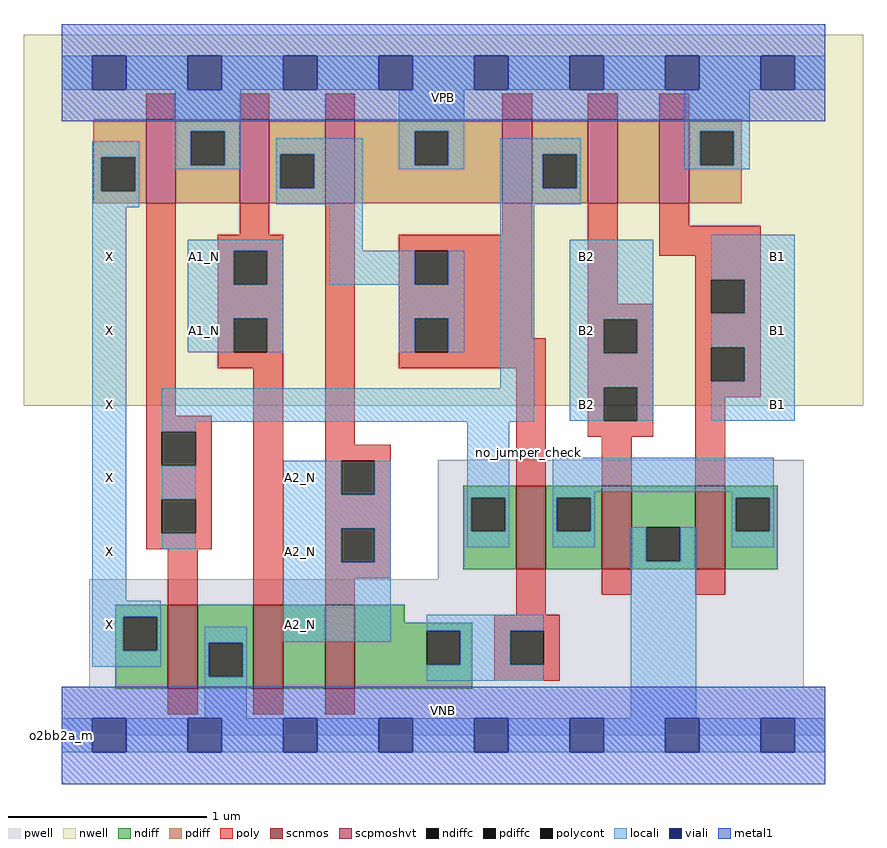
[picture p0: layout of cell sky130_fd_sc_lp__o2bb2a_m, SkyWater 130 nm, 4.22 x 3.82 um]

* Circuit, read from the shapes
.subckt sky130_fd_sc_lp__o2bb2a_m A1_N A2_N B1 B2 VGND VNB VPB VPWR X
XM1 VGND n1 X VNB sky130_fd_pr__nfet_01v8 w=0.42 l=0.15
XM2 n2 A1_N VGND VNB sky130_fd_pr__nfet_01v8 w=0.42 l=0.15
XM3 n3 A2_N n2 VNB sky130_fd_pr__nfet_01v8 w=0.42 l=0.15
XM4 n4 n3 n1 VNB sky130_fd_pr__nfet_01v8 w=0.42 l=0.15
XM5 VGND B2 n4 VNB sky130_fd_pr__nfet_01v8 w=0.42 l=0.15
XM6 n4 B1 VGND VNB sky130_fd_pr__nfet_01v8 w=0.42 l=0.15
XM7 VPWR n1 X VPB sky130_fd_pr__pfet_01v8_hvt w=0.42 l=0.15
XM8 n3 A1_N VPWR VPB sky130_fd_pr__pfet_01v8_hvt w=0.42 l=0.15
XM9 VPWR A2_N n3 VPB sky130_fd_pr__pfet_01v8_hvt w=0.42 l=0.15
XM10 n1 n3 VPWR VPB sky130_fd_pr__pfet_01v8_hvt w=0.42 l=0.15
XM11 n5 B2 n1 VPB sky130_fd_pr__pfet_01v8_hvt w=0.42 l=0.15
XM12 VPWR B1 n5 VPB sky130_fd_pr__pfet_01v8_hvt w=0.42 l=0.15
.ends

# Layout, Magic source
magic
tech sky130A
magscale 1 2
<< nwell >>
rect -38 331 806 704
<< pwell >>
rect 378 157 746 277
rect 28 49 746 157
rect 0 0 768 49
<< scnmos >>
rect 457 167 487 251
rect 543 167 573 251
rect 637 167 667 251
rect 107 47 137 131
rect 193 47 223 131
rect 265 47 295 131
<< scpmoshvt >>
rect 85 535 115 619
rect 179 535 209 619
rect 265 535 295 619
rect 443 535 473 619
rect 529 535 559 619
rect 601 535 631 619
<< ndiff >>
rect 404 239 457 251
rect 404 205 412 239
rect 446 205 457 239
rect 404 167 457 205
rect 487 239 543 251
rect 487 205 498 239
rect 532 205 543 239
rect 487 167 543 205
rect 573 209 637 251
rect 573 175 588 209
rect 622 175 637 209
rect 573 167 637 175
rect 667 239 720 251
rect 667 205 678 239
rect 712 205 720 239
rect 667 167 720 205
rect 54 119 107 131
rect 54 85 62 119
rect 96 85 107 119
rect 54 47 107 85
rect 137 93 193 131
rect 137 59 148 93
rect 182 59 193 93
rect 137 47 193 59
rect 223 47 265 131
rect 295 113 345 131
rect 295 105 413 113
rect 295 71 367 105
rect 401 71 413 105
rect 295 47 413 71
<< pdiff >>
rect 32 581 85 619
rect 32 547 40 581
rect 74 547 85 581
rect 32 535 85 547
rect 115 607 179 619
rect 115 573 130 607
rect 164 573 179 607
rect 115 535 179 573
rect 209 584 265 619
rect 209 550 220 584
rect 254 550 265 584
rect 209 535 265 550
rect 295 607 443 619
rect 295 573 355 607
rect 389 573 443 607
rect 295 535 443 573
rect 473 584 529 619
rect 473 550 484 584
rect 518 550 529 584
rect 473 535 529 550
rect 559 535 601 619
rect 631 607 684 619
rect 631 573 642 607
rect 676 573 684 607
rect 631 535 684 573
<< ndiffc >>
rect 412 205 446 239
rect 498 205 532 239
rect 588 175 622 209
rect 678 205 712 239
rect 62 85 96 119
rect 148 59 182 93
rect 367 71 401 105
<< pdiffc >>
rect 40 547 74 581
rect 130 573 164 607
rect 220 550 254 584
rect 355 573 389 607
rect 484 550 518 584
rect 642 573 676 607
<< poly >>
rect 85 619 115 645
rect 179 619 209 645
rect 265 619 295 645
rect 443 619 473 645
rect 529 619 559 645
rect 601 619 631 645
rect 85 321 115 535
rect 179 503 209 535
rect 157 487 223 503
rect 157 453 173 487
rect 207 453 223 487
rect 157 419 223 453
rect 157 385 173 419
rect 207 385 223 419
rect 157 369 223 385
rect 85 305 151 321
rect 85 271 101 305
rect 135 271 151 305
rect 85 237 151 271
rect 85 203 101 237
rect 135 203 151 237
rect 85 187 151 203
rect 107 131 137 187
rect 193 131 223 369
rect 265 292 295 535
rect 443 503 473 535
rect 339 487 473 503
rect 339 453 355 487
rect 389 453 473 487
rect 339 419 473 453
rect 339 385 355 419
rect 389 399 473 419
rect 529 434 559 535
rect 601 512 631 535
rect 601 482 703 512
rect 637 458 703 482
rect 529 418 595 434
rect 389 385 487 399
rect 339 369 487 385
rect 265 276 331 292
rect 265 242 281 276
rect 315 242 331 276
rect 457 251 487 369
rect 529 384 545 418
rect 579 384 595 418
rect 529 350 595 384
rect 529 316 545 350
rect 579 316 595 350
rect 529 300 595 316
rect 637 424 653 458
rect 687 424 703 458
rect 637 390 703 424
rect 637 356 653 390
rect 687 356 703 390
rect 637 340 703 356
rect 543 251 573 300
rect 637 251 667 340
rect 265 208 331 242
rect 265 174 281 208
rect 315 174 331 208
rect 265 158 331 174
rect 265 131 295 158
rect 457 121 487 167
rect 543 141 573 167
rect 637 141 667 167
rect 435 105 501 121
rect 435 71 451 105
rect 485 71 501 105
rect 435 55 501 71
rect 107 21 137 47
rect 193 21 223 47
rect 265 21 295 47
<< polycont >>
rect 173 453 207 487
rect 173 385 207 419
rect 101 271 135 305
rect 101 203 135 237
rect 355 453 389 487
rect 355 385 389 419
rect 281 242 315 276
rect 545 384 579 418
rect 545 316 579 350
rect 653 424 687 458
rect 653 356 687 390
rect 281 174 315 208
rect 451 71 485 105
<< locali >>
rect 0 649 31 683
rect 65 649 127 683
rect 161 649 223 683
rect 257 649 319 683
rect 353 649 415 683
rect 449 649 511 683
rect 545 649 607 683
rect 641 649 703 683
rect 737 649 768 683
rect 114 607 180 649
rect 31 581 78 597
rect 31 547 40 581
rect 74 547 78 581
rect 114 573 130 607
rect 164 573 180 607
rect 339 607 405 649
rect 114 569 180 573
rect 216 584 303 600
rect 31 531 78 547
rect 216 550 220 584
rect 254 550 303 584
rect 339 573 355 607
rect 389 573 405 607
rect 626 607 692 649
rect 339 569 405 573
rect 441 584 522 600
rect 216 534 303 550
rect 31 135 65 531
rect 127 487 223 498
rect 127 453 173 487
rect 207 453 223 487
rect 269 487 303 534
rect 441 550 484 584
rect 518 550 522 584
rect 626 573 642 607
rect 676 573 692 607
rect 626 569 692 573
rect 441 534 522 550
rect 269 453 355 487
rect 389 453 405 487
rect 127 419 223 453
rect 127 385 173 419
rect 207 385 223 419
rect 339 419 405 453
rect 339 385 355 419
rect 389 385 405 419
rect 441 349 475 534
rect 101 315 475 349
rect 511 418 595 498
rect 511 384 545 418
rect 579 384 595 418
rect 511 350 595 384
rect 511 316 545 350
rect 579 316 595 350
rect 653 458 737 503
rect 687 424 737 458
rect 653 390 737 424
rect 687 356 737 390
rect 653 316 737 356
rect 101 305 135 315
rect 101 237 135 271
rect 101 187 135 203
rect 223 242 281 276
rect 315 242 331 276
rect 223 208 331 242
rect 223 174 281 208
rect 315 174 331 208
rect 408 239 450 315
rect 408 205 412 239
rect 446 205 450 239
rect 408 189 450 205
rect 494 245 716 279
rect 494 239 536 245
rect 494 205 498 239
rect 532 205 536 239
rect 674 239 716 245
rect 494 189 536 205
rect 31 119 100 135
rect 31 85 62 119
rect 96 85 100 119
rect 31 69 100 85
rect 144 93 186 109
rect 223 94 331 174
rect 572 175 588 209
rect 622 175 638 209
rect 674 205 678 239
rect 712 205 716 239
rect 674 189 716 205
rect 367 105 485 121
rect 144 59 148 93
rect 182 59 186 93
rect 144 17 186 59
rect 401 71 451 105
rect 367 55 485 71
rect 572 17 638 175
rect 0 -17 31 17
rect 65 -17 127 17
rect 161 -17 223 17
rect 257 -17 319 17
rect 353 -17 415 17
rect 449 -17 511 17
rect 545 -17 607 17
rect 641 -17 703 17
rect 737 -17 768 17
<< viali >>
rect 31 649 65 683
rect 127 649 161 683
rect 223 649 257 683
rect 319 649 353 683
rect 415 649 449 683
rect 511 649 545 683
rect 607 649 641 683
rect 703 649 737 683
rect 31 -17 65 17
rect 127 -17 161 17
rect 223 -17 257 17
rect 319 -17 353 17
rect 415 -17 449 17
rect 511 -17 545 17
rect 607 -17 641 17
rect 703 -17 737 17
<< metal1 >>
rect 0 683 768 715
rect 0 649 31 683
rect 65 649 127 683
rect 161 649 223 683
rect 257 649 319 683
rect 353 649 415 683
rect 449 649 511 683
rect 545 649 607 683
rect 641 649 703 683
rect 737 649 768 683
rect 0 617 768 649
rect 0 17 768 49
rect 0 -17 31 17
rect 65 -17 127 17
rect 161 -17 223 17
rect 257 -17 319 17
rect 353 -17 415 17
rect 449 -17 511 17
rect 545 -17 607 17
rect 641 -17 703 17
rect 737 -17 768 17
rect 0 -49 768 -17
<< labels >>
flabel pwell s 0 0 768 49 0 FreeSans 200 0 0 0 VNB
port 6 nsew ground bidirectional
flabel nwell s 0 617 768 666 0 FreeSans 200 0 0 0 VPB
port 7 nsew power bidirectional
rlabel comment s 0 0 0 0 4 o2bb2a_m
flabel comment s 469 284 469 284 0 FreeSans 200 90 0 0 no_jumper_check
flabel metal1 s 0 617 768 666 0 FreeSans 340 0 0 0 VPWR
port 8 nsew power bidirectional
flabel metal1 s 0 0 768 49 0 FreeSans 340 0 0 0 VGND
port 5 nsew ground bidirectional
flabel locali s 127 390 161 424 0 FreeSans 340 0 0 0 A1_N
port 1 nsew signal input
flabel locali s 127 464 161 498 0 FreeSans 340 0 0 0 A1_N
port 1 nsew signal input
flabel locali s 703 316 737 350 0 FreeSans 340 0 0 0 B1
port 3 nsew signal input
flabel locali s 703 390 737 424 0 FreeSans 340 0 0 0 B1
port 3 nsew signal input
flabel locali s 703 464 737 498 0 FreeSans 340 0 0 0 B1
port 3 nsew signal input
flabel locali s 511 316 545 350 0 FreeSans 340 0 0 0 B2
port 4 nsew signal input
flabel locali s 511 390 545 424 0 FreeSans 340 0 0 0 B2
port 4 nsew signal input
flabel locali s 511 464 545 498 0 FreeSans 340 0 0 0 B2
port 4 nsew signal input
flabel locali s 31 94 65 128 0 FreeSans 340 0 0 0 X
port 9 nsew signal output
flabel locali s 31 168 65 202 0 FreeSans 340 0 0 0 X
port 9 nsew signal output
flabel locali s 31 242 65 276 0 FreeSans 340 0 0 0 X
port 9 nsew signal output
flabel locali s 31 316 65 350 0 FreeSans 340 0 0 0 X
port 9 nsew signal output
flabel locali s 31 390 65 424 0 FreeSans 340 0 0 0 X
port 9 nsew signal output
flabel locali s 31 464 65 498 0 FreeSans 340 0 0 0 X
port 9 nsew signal output
flabel locali s 223 94 257 128 0 FreeSans 340 0 0 0 A2_N
port 2 nsew signal input
flabel locali s 223 168 257 202 0 FreeSans 340 0 0 0 A2_N
port 2 nsew signal input
flabel locali s 223 242 257 276 0 FreeSans 340 0 0 0 A2_N
port 2 nsew signal input
<< properties >>
string LEFsite unit
string LEFclass CORE
string FIXED_BBOX 0 0 768 666
string GDS_FILE $PDKPATH/libs.ref/sky130_fd_sc_lp/gds/sky130_fd_sc_lp.gds
string LEFsymmetry X Y R90
string GDS_END 3604812
string GDS_START 3596414
<< end >>
